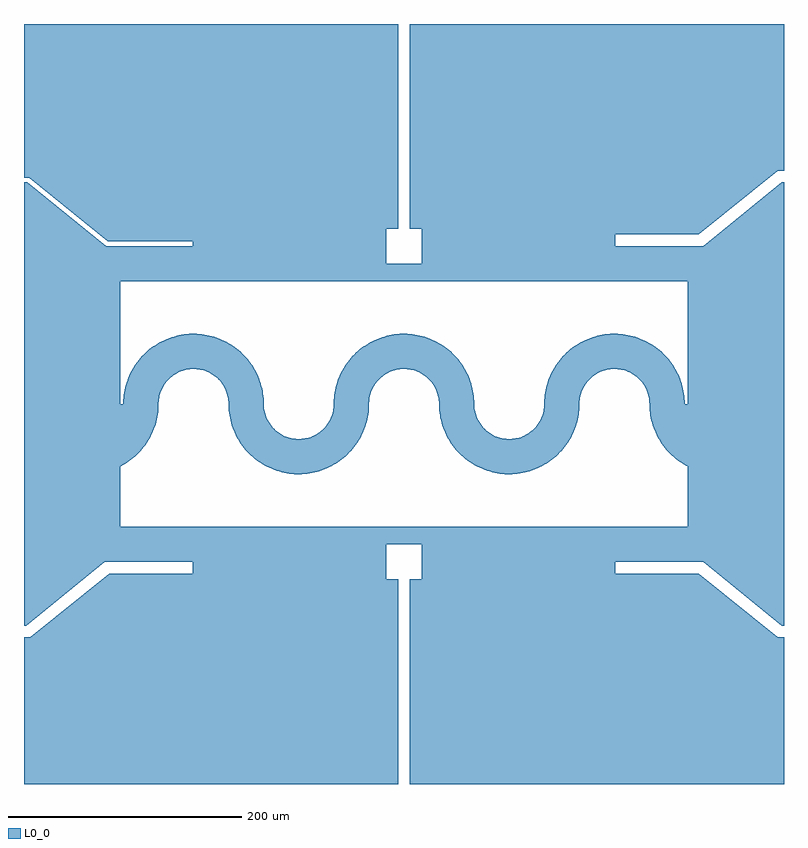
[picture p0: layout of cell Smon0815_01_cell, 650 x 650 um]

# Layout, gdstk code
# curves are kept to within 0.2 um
import gdstk
lib = gdstk.Library(unit=1e-6, precision=1e-09)
def R(c, l, rs):  # rectangles x0, y0, x1, y1
    for r in rs: c.add(gdstk.rectangle(r[:2], r[2:], *l))
def P(c, l, *ps):  # polygons
    for p in ps: c.add(gdstk.Polygon(p, *l))
L0_0 = (0, 0)

smon0815_01_cell = lib.new_cell('Smon0815_01_cell')
R(smon0815_01_cell, L0_0, [(-325,17.189,-242.5,35.619), (242.5,17.189,325,35.619)])
P(smon0815_01_cell, L0_0, [(-242.228,-53.186),(-234.821,-48.605),(-228.155,-43),(-222.371,-36.49),(-217.979,-29.88),(-325,-29.88),(-325,-189.562),(-323.149,-189.562),(-255.771,-135),(-180.5,-135),(-180.5,-145),(-252.229,-145),(-319.608,-199.562),(-325,-199.562),(-325,-325),(-5,-325),(-5,-150),(-15,-150),(-15,-120),(15,-120),(15,-150),(5,-150),(5,-325),(325,-325),(325,-199.562),(319.608,-199.562),(252.229,-145),(180.5,-145),(180.5,-135),(255.771,-135),(323.149,-189.562),(325,-189.562),(325,-29.88),(217.975,-29.88),(223.042,-37.349),(228.943,-43.753),(235.709,-49.236),(242.5,-53.317),(242.5,-105),(-242.5,-105),(-242.5,-53.322)],
  [(-87.277,-59.938),(-80.775,-59.287),(-72.29,-57.327),(-66.161,-55.061),(-58.441,-51.03),(-53.079,-47.296),(-46.622,-41.453),(-42.371,-36.49),(-37.979,-29.88),(-142.025,-29.88),(-138.284,-35.619),(-132.619,-42.233),(-126.056,-47.958),(-118.733,-52.673),(-112.835,-55.485),(-104.562,-58.206),(-95.983,-59.701)],
  [(92.723,-59.938),(99.225,-59.287),(107.71,-57.327),(113.839,-55.061),(121.559,-51.03),(126.921,-47.296),(133.378,-41.453),(137.629,-36.49),(142.021,-29.88),(37.975,-29.88),(41.716,-35.619),(47.381,-42.233),(53.944,-47.958),(61.267,-52.673),(67.165,-55.485),(75.438,-58.206),(84.017,-59.701)],
  [(-217.877,-29.704),(-214.725,-23.338),(-212.515,-17.189),(-210.987,-10.836),(-210.257,-5.44),(-325,-5.44),(-325,-29.88)],
  [(-93.441,-29.802),(-97.949,-28.928),(-102.272,-27.375),(-106.307,-25.181),(-109.96,-22.397),(-113.145,-19.087),(-115.787,-15.331),(-117.825,-11.215),(-119.5,-5.44),(-149.753,-5.44),(-148.807,-11.906),(-147.164,-18.23),(-144.842,-24.338),(-142.025,-29.88)],
  [(-37.877,-29.704),(-34.725,-23.338),(-32.515,-17.189),(-30.987,-10.836),(-30.257,-5.44),(-60.507,-5.44),(-61.898,-10.5),(-63.83,-14.667),(-66.375,-18.49),(-69.475,-21.88),(-74.341,-25.589),(-78.431,-27.68),(-82.792,-29.121),(-87.322,-29.88)],
  [(86.559,-29.802),(82.051,-28.928),(77.728,-27.375),(73.693,-25.181),(70.04,-22.397),(66.855,-19.087),(64.213,-15.331),(62.175,-11.215),(60.5,-5.44),(30.247,-5.44),(31.193,-11.906),(32.836,-18.23),(35.158,-24.338),(37.975,-29.88)],
  [(142.123,-29.704),(145.275,-23.338),(147.485,-17.189),(149.013,-10.836),(149.743,-5.44),(119.493,-5.44),(118.102,-10.5),(116.17,-14.667),(113.625,-18.49),(110.525,-21.88),(105.659,-25.589),(101.569,-27.68),(97.208,-29.121),(92.678,-29.88)],
  [(325,-5.44),(210.247,-5.44),(211.193,-11.906),(212.836,-18.23),(215.158,-24.338),(217.975,-29.88),(325,-29.88)],
  [(-325,17.189),(-325,-5.44),(-210.257,-5.44),(-209.912,2.296),(-209.211,6.836),(-207.216,12.621),(-204.576,17.189),(-237.475,17.189),(-238.807,11.906),(-239.516,7.606),(-239.99,0),(-242.5,0),(-242.5,17.189)],
  [(-119.522,-5.335),(-120.632,8.686),(-122.515,17.189),(-155.415,17.189),(-152.47,11.921),(-150.973,7.579),(-150.156,3.06),(-149.753,-5.44)],
  [(-30.247,-5.335),(-29.912,2.296),(-29.211,6.836),(-27.216,12.621),(-24.576,17.189),(-57.475,17.189),(-58.807,11.906),(-59.516,7.606),(-60.507,-5.44)],
  [(60.478,-5.335),(59.368,8.686),(57.485,17.189),(24.585,17.189),(27.53,11.921),(29.027,7.579),(29.844,3.06),(30.247,-5.44)],
  [(149.753,-5.335),(150.088,2.296),(150.789,6.836),(152.784,12.621),(155.424,17.189),(122.525,17.189),(121.193,11.906),(120.484,7.606),(119.493,-5.44)],
  [(325,17.189),(242.5,17.189),(242.5,0),(240,0),(239.368,8.686),(237.485,17.189),(204.585,17.189),(207.53,11.921),(209.027,7.579),(209.844,3.06),(210.247,-5.44),(325,-5.44)],
  [(-123.177,19.265),(-126.564,27.288),(-128.686,31.094),(-131.729,35.619),(-228.284,35.619),(-230.741,32.021),(-233.922,26.313),(-235.69,22.33),(-237.475,17.189),(-204.576,17.189),(-202.14,20.244),(-199.96,22.397),(-196.307,25.181),(-193.654,26.713),(-187.949,28.928),(-184.958,29.588),(-180.383,29.998),(-177.322,29.88),(-172.792,29.121),(-168.431,27.68),(-165.668,26.355),(-161.813,23.859),(-159.475,21.88),(-155.415,17.189),(-122.515,17.189)],
  [(56.823,19.265),(53.436,27.288),(51.314,31.094),(48.271,35.619),(-48.284,35.619),(-50.741,32.021),(-53.922,26.313),(-55.69,22.33),(-57.475,17.189),(-24.576,17.189),(-22.14,20.244),(-19.96,22.397),(-16.307,25.181),(-13.654,26.713),(-7.949,28.928),(-4.958,29.588),(-0.383,29.998),(2.678,29.88),(7.208,29.121),(11.569,27.68),(14.332,26.355),(18.187,23.859),(20.525,21.88),(24.585,17.189),(57.485,17.189)],
  [(236.823,19.265),(233.436,27.288),(231.314,31.094),(228.271,35.619),(131.716,35.619),(129.259,32.021),(126.078,26.313),(124.31,22.33),(122.525,17.189),(155.424,17.189),(157.86,20.244),(160.04,22.397),(163.693,25.181),(166.346,26.713),(172.051,28.928),(175.042,29.588),(179.617,29.998),(182.678,29.88),(187.208,29.121),(191.569,27.68),(194.332,26.355),(198.187,23.859),(200.525,21.88),(204.585,17.189),(237.485,17.189)],
  [(325,189.562),(323.149,189.562),(255.771,135),(180.5,135),(180.5,145),(252.229,145),(319.608,199.562),(325,199.562),(325,325),(5,325),(5,150),(15,150),(15,120),(-15,120),(-15,150),(-5,150),(-5,325),(-325,325),(-325,193.562),(-320.67,193.562),(-253.292,139),(-180.5,139),(-180.5,135),(-254.708,135),(-322.087,189.562),(-325,189.562),(-325,35.619),(-242.5,35.619),(-242.5,105),(242.5,105),(242.5,35.619),(325,35.619)],
  [(227.629,36.49),(223.378,41.453),(218.614,45.924),(213.391,49.85),(207.772,53.186),(199.78,56.646),(193.503,58.461),(187.066,59.583),(180.545,59.998),(174.017,59.701),(165.438,58.206),(159.195,56.277),(153.198,53.681),(145.709,49.236),(140.559,45.215),(135.876,40.658),(131.716,35.619),(228.271,35.619)],
  [(47.629,36.49),(43.378,41.453),(38.614,45.924),(33.391,49.85),(27.772,53.186),(19.78,56.646),(13.503,58.461),(7.066,59.583),(0.545,59.998),(-5.983,59.701),(-14.562,58.206),(-20.805,56.277),(-26.802,53.681),(-34.291,49.236),(-39.441,45.215),(-44.124,40.658),(-48.284,35.619),(48.271,35.619)],
  [(-132.371,36.49),(-136.622,41.453),(-141.386,45.924),(-146.609,49.85),(-152.228,53.186),(-160.22,56.646),(-166.497,58.461),(-172.934,59.583),(-179.455,59.998),(-185.983,59.701),(-194.562,58.206),(-200.805,56.277),(-206.802,53.681),(-214.291,49.236),(-219.441,45.215),(-224.124,40.658),(-228.284,35.619),(-131.729,35.619)])

lib.write_gds('Smon0815_01_cell.gds')
